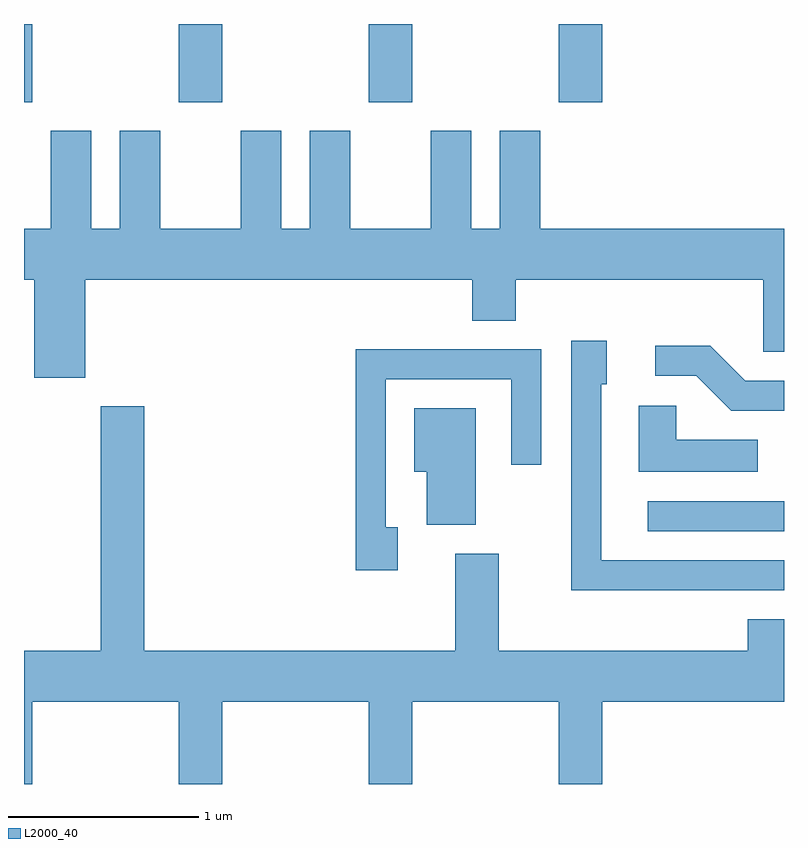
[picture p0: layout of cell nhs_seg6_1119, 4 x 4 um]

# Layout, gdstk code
import gdstk
lib = gdstk.Library(unit=1e-6, precision=1e-09)
def R(c, l, rs):  # rectangles x0, y0, x1, y1
    for r in rs: c.add(gdstk.rectangle(r[:2], r[2:], *l))
def A(c, l, x, y, w, h, nx, ny, dx, dy):  # array of equal rectangles
    R(c, l, [(x+i*dx, y+j*dy, x+i*dx+w, y+j*dy+h) for i in range(nx) for j in range(ny)])
def P(c, l, *ps):  # polygons
    for p in ps: c.add(gdstk.Polygon(p, *l))
L2000_40 = (2000, 40)

nhs_seg6_1119 = lib.new_cell('nhs_seg6_1119')
A(nhs_seg6_1119, L2000_40, 218.426, 1659.751, 0.228, 0.411, 3, 1, 1, 0)
R(nhs_seg6_1119, L2000_40, [(220.893,1657.491,221.611,1657.649), (217.611,1659.751,217.654,1660.162)])
P(nhs_seg6_1119, L2000_40, [(217.934,1658.816),(219.971,1658.816),(219.971,1658.601),(220.199,1658.601),(220.199,1658.816),(221.501,1658.816),(221.501,1658.436),(221.611,1658.436),(221.611,1659.084),(220.329,1659.084),(220.329,1659.599),(220.116,1659.599),(220.116,1659.084),(219.964,1659.084),(219.964,1659.599),(219.751,1659.599),(219.751,1659.084),(219.329,1659.084),(219.329,1659.599),(219.116,1659.599),(219.116,1659.084),(218.964,1659.084),(218.964,1659.599),(218.751,1659.599),(218.751,1659.084),(218.329,1659.084),(218.329,1659.599),(218.116,1659.599),(218.116,1659.084),(217.964,1659.084),(217.964,1659.599),(217.751,1659.599),(217.751,1659.084),(217.611,1659.084),(217.611,1658.816),(217.666,1658.816),(217.666,1658.301),(217.934,1658.301)],
  [(221.611,1657.339),(220.649,1657.339),(220.649,1658.266),(220.679,1658.266),(220.679,1658.494),(220.491,1658.494),(220.491,1657.181),(221.611,1657.181)],
  [(221.611,1658.284),(221.407,1658.284),(221.222,1658.469),(220.933,1658.469),(220.933,1658.311),(221.149,1658.311),(221.334,1658.126),(221.611,1658.126)],
  [(219.579,1657.514),(219.514,1657.514),(219.514,1658.291),(220.176,1658.291),(220.176,1657.843),(220.334,1657.843),(220.334,1658.449),(219.356,1658.449),(219.356,1657.286),(219.579,1657.286)],
  [(221.473,1657.974),(221.044,1657.974),(221.044,1658.154),(220.846,1658.154),(220.846,1657.806),(221.473,1657.806)],
  [(217.654,1656.596),(218.426,1656.596),(218.426,1656.162),(218.654,1656.162),(218.654,1656.596),(219.426,1656.596),(219.426,1656.162),(219.654,1656.162),(219.654,1656.596),(220.426,1656.596),(220.426,1656.162),(220.654,1656.162),(220.654,1656.596),(221.611,1656.596),(221.611,1657.029),(221.421,1657.029),(221.421,1656.864),(220.109,1656.864),(220.109,1657.374),(219.881,1657.374),(219.881,1656.864),(218.244,1656.864),(218.244,1658.149),(218.016,1658.149),(218.016,1656.864),(217.611,1656.864),(217.611,1656.162),(217.654,1656.162)],
  [(219.989,1658.139),(219.666,1658.139),(219.666,1657.806),(219.731,1657.806),(219.731,1657.526),(219.989,1657.526)])

lib.write_gds('nhs_seg6_1119.gds')
